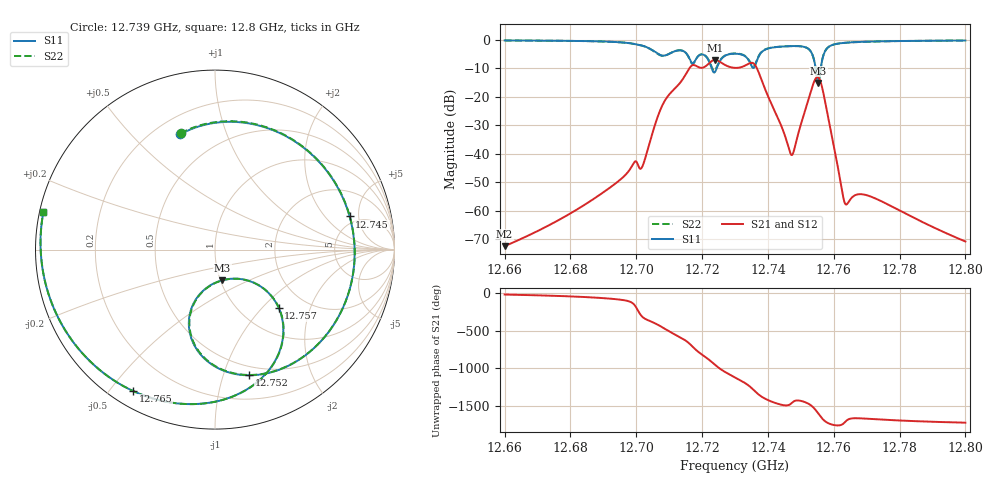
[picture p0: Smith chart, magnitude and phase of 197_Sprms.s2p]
! TOUCHSTONE file generated by CST MICROWAVE STUDIO
! Date and time: Wed Jul 31 20:53:29 2024
! Project name: WaveGuide_BPF-Ver4.1_U-shape_Ku_T3_C4_CWA_2.cst
! Parameters = {cavity_h=16; cavity_l0=10; cavity_l1=15.1992; cavity_l2=16.8498; cavity_l3=17.1151; cavity_l4=17.2254; cavity_l5=17.1419; cavity_l6=17.6372; cavity_r=2.5; cavity_screw_l=0.5; cavity_screw_r=1.5; cavity_w=8; iris_h00=0; iris_h01=8.805; iris_h112=0; iris_h12=5.5948; iris_h211=3.6555; i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
! Header version: 2018
! Port assignment regex: !\s*Touchstone port\s*([0-9]+)\s*=\s*(CST MWS port|CST DS port)\s*([0-9]+|Zmin|Zmax)\s*\(\"(.*)\"\)(\s*mode\s*([0-9]+))?.*
! Touchstone port assignment:
! Touchstone port 1 = CST MWS port 1 ("")
! Touchstone port 2 = CST MWS port 2 ("")
# GHz S RI R 50
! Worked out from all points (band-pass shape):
!   5001 points, 12.66 GHz to 12.8 GHz, reference 50 ohm
!   highest |S21| = -7.01 dB at 12.724 GHz (marker M1); lowest = -72.5 dB at 12.66 GHz (marker M2)
!   |S21| within 3 dB of the highest: 12.71609 GHz to 12.73669 GHz (20.6 MHz wide, 0.162 % of centre)
!   lowest |S11| = -15.1 dB at 12.755 GHz (marker M3), VSWR 1.43, Z = 51.1 - j18 ohm
!   |S11| at or under -10 dB: 12.72293 GHz to 12.72442 GHz (1.491 MHz wide, 0.0117 % of centre); 12.75452 GHz to 12.75603 GHz (1.511 MHz wide, 0.0118 % of centre)
!   |S22| runs from -15.1 to -0.2 dB; largest |S21 - S12| = 1e-09
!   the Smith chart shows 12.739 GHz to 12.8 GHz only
!   S11 on the Smith chart (normalised r, x): 12.739 GHz: 0.30, +0.70; 12.745 GHz: 4.18, +3.82; 12.752 GHz: 0.41, -1.22; 12.757 GHz: 1.47, -1.25; 12.765 GHz: 0.06, -0.57; 12.8 GHz: 0.01, +0.11
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12.66  0.2743 0.9431  0.000223 -8.24e-05  0.000223 -8.24e-05  0.2754 0.9429
12.68335  0.6824 0.6755  0.000737 -0.000914  0.000737 -0.000914  0.6826 0.6754
12.69912  0.8391 -0.1815  -0.0053 -0.00412  -0.0053 -0.00412  0.8389 -0.1811
12.70668  -0.3297 -0.463  0.0211 -0.0426  0.0211 -0.0426  -0.3392 -0.4472
12.7118  0.0331 0.6369  -0.1389 0.0271  -0.1389 0.0271  0.0668 0.637
12.71732  0.3678 0.1317  0.3632 0.000372  0.3632 0.000372  0.364 0.1201
12.72012  0.5523 -0.0783  -0.0623 -0.3199  -0.0623 -0.3199  0.554 -0.0852
12.72392  0.2352 -0.142  -0.277 0.3497  -0.277 0.3497  0.2442 -0.1677
12.73  -0.351 -0.4544  0.2545 -0.2004  0.2545 -0.2004  -0.3711 -0.4456
12.73493  -0.275 0.2333  -0.3966 -0.0327  -0.3966 -0.0327  -0.2874 0.2388
12.73899  -0.1932 0.6418  0.1066 0.0977  0.1066 0.0977  -0.1909 0.6478
12.74506  0.75 0.1847  0.0143 -0.0164  0.0143 -0.0164  0.7489 0.1921
12.7475  0.7451 -0.2387  0.00971 -0.00143  0.00971 -0.00143  0.7476 -0.2311
12.75187  0.1911 -0.7004  0.0701 -0.0227  0.0701 -0.0227  0.1967 -0.6985
12.75335  -0.0883 -0.5748  0.0733 -0.1215  0.0733 -0.1215  -0.0842 -0.5746
12.75528  0.0413 -0.1705  -0.2028 -0.0891  -0.2028 -0.0891  0.046 -0.1701
12.75663  0.355 -0.3251  -0.0853 0.1038  -0.0853 0.1038  0.3576 -0.3275
12.76304  -0.2671 -0.8485  0.000464 0.0015  0.000464 0.0015  -0.2669 -0.8485
12.76545  -0.4565 -0.7878  -0.00124 0.00115  -0.00124 0.00115  -0.4566 -0.7876
12.77668  -0.8774 -0.372  -0.000578 0.00113  -0.000578 0.00113  -0.8779 -0.3707
12.79994  -0.9568 0.2069  4.48e-05 0.000285  4.48e-05 0.000285  -0.9564 0.209
12.8  -0.9567 0.2079  4.49e-05 0.000284  4.49e-05 0.000284  -0.9562 0.2099
